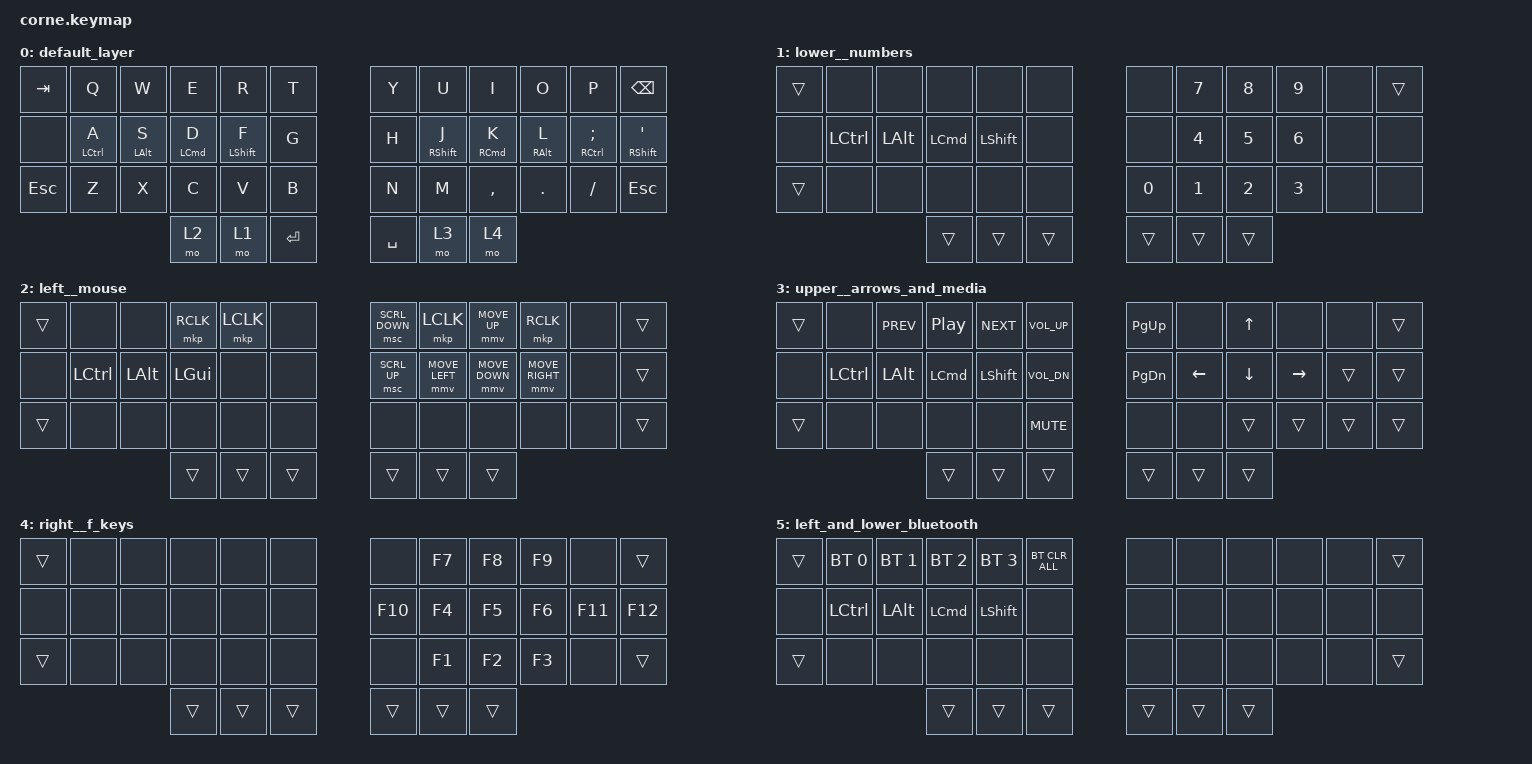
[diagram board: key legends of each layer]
/*
* Copyright (c) 2020 The ZMK Contributors
*
* SPDX-License-Identifier: MIT
*/
/*
╭────────────────────────┬────────────────────────╮
│  0   1   2   3   4   5 │  6   7   8   9  10  11 │
│ 12 [13][14][15][16] 17 │ 18 [19][20][21][22] 23 │
│ 24  25  26  27  28  29 │ 30  31  32  33  34  35 │
╰───────────╮ 36  37  38 │ 39  40  41 ╭───────────╯
............╰────────────┴────────────╯
*/

#define ZMK_POINTING_DEFAULT_MOVE_VAL 1100// mouse move
#define ZMK_POINTING_DEFAULT_SCRL_VAL 18// mouse scroll

#include <behaviors.dtsi>
#include <dt-bindings/zmk/bt.h>
#include <dt-bindings/zmk/keys.h>
#include <dt-bindings/zmk/pointing.h>

/* ------ MOUSE MOVE SETTINGS----- */

&mmv {
    time-to-max-speed-ms = <700>;
    acceleration-exponent = <1>;
};

/* ------MOUSE SCROLL SETTINGS----- */

&msc {
    time-to-max-speed-ms = <100>;
    acceleration-exponent = <0>;
};

/* ------------------------------- */

/ {
    behaviors {
        hml: hml {
            compatible = "zmk,behavior-hold-tap";
            #binding-cells = <2>;
            bindings = <&kp>, <&kp>;

            tapping-term-ms = <280>;
            flavor = "balanced";
            quick-tap-ms = <175>;
            require-prior-idle-ms = <150>;
            hold-trigger-key-positions = <6 7 8 9 10 11 18 19 20 21 22 23 30 31 32 33 34 35 39 40 41 38 37 36 0>;
            hold-trigger-on-release;
        };

        hmr: hmr {
            compatible = "zmk,behavior-hold-tap";
            #binding-cells = <2>;
            bindings = <&kp>, <&kp>;

            tapping-term-ms = <280>;
            flavor = "balanced";

            // when pressed _again_ within this time tap behavior will be triggered			

            quick-tap-ms = <175>;

            // require-prior-idle-ms is like quick-tap-ms however it will apply for any non-modifier key pressed before it. 
            // dus key a > shift b (shift b is dan waar dit gedefineerd is) binnen deze tijd is alijd ab.
            // This effectively disables the hold-tap when typing quickly.

            require-prior-idle-ms = <150>;

            // if you press any key NOT listed in hold-trigger-key-positions before tapping-term-ms expires, it will produce a tap.
            // dus een key die wel in deze lijst staat houd de hold trigger aan.

            hold-trigger-key-positions = <0 1 2 3 4 5 12 13 14 15 16 17 24 25 26 27 28 29 36 37 38 39 41 40 11>;
            hold-trigger-on-release;
        };

        moto: moto {
            compatible = "zmk,behavior-hold-tap";
            bindings = <&kp>, <&to>;

            #binding-cells = <2>;
            tapping-term-ms = <200>;
        };
    };

    combos {
        compatible = "zmk,combos";

        combo_caps_lock {
            timeout-ms = <50>;
            key-positions = <13 22>;
            bindings = <&kp CAPS>;
        };

        combo_copy {
            timeout-ms = <40>;
            key-positions = <15 27>;
            bindings = <&kp LG(C)>;
        };

        combo_cut {
            timeout-ms = <40>;
            key-positions = <14 26>;
            bindings = <&kp LG(X)>;
        };

        combo_paste {
            timeout-ms = <40>;
            key-positions = <16 28>;
            bindings = <&kp LG(V)>;
        };

        combo_undo {
            timeout-ms = <40>;
            key-positions = <13 25>;
            bindings = <&kp LG(Z)>;
        };

        combo_cmdtab {
            timeout-ms = <40>;
            key-positions = <0 1>;
            bindings = <&kp LG(TAB)>;
        };

        // Symbol combos

        combo_exclamation {
            timeout-ms = <40>;
            key-positions = <1 13>;
            bindings = <&kp EXCLAMATION>;
        };

        combo_at {
            timeout-ms = <40>;
            key-positions = <2 14>;
            bindings = <&kp AT>;
        };

        combo_hash {
            timeout-ms = <40>;
            key-positions = <3 15>;
            bindings = <&kp HASH>;
        };

        combo_dollar {
            timeout-ms = <40>;
            key-positions = <4 16>;
            bindings = <&kp DOLLAR>;
        };

        combo_percent {
            timeout-ms = <40>;
            key-positions = <5 17>;
            bindings = <&kp PERCENT>;
        };

        combo_caret {
            timeout-ms = <40>;
            key-positions = <6 18>;
            bindings = <&kp CARET>;
        };

        combo_ampersand {
            timeout-ms = <40>;
            key-positions = <7 19>;
            bindings = <&kp AMPS>;
        };

        combo_asterisk {
            timeout-ms = <40>;
            key-positions = <8 20>;
            bindings = <&kp ASTERISK>;
        };

        combo_underscore {
            timeout-ms = <40>;
            key-positions = <9 21>;
            bindings = <&kp UNDERSCORE>;
        };

        combo_pipe {
            timeout-ms = <40>;
            key-positions = <10 22>;
            bindings = <&kp PIPE>;
        };

        combo_backslash {
            timeout-ms = <40>;
            key-positions = <11 23>;
            bindings = <&kp BACKSLASH>;
        };

        combo_left_bracket {
            timeout-ms = <40>;
            key-positions = <1 2>;
            bindings = <&kp LEFT_BRACKET>;
        };

        combo_right_bracket {
            timeout-ms = <40>;
            key-positions = <3 4>;
            bindings = <&kp RIGHT_BRACKET>;
        };

        combo_minus {
            timeout-ms = <20>;
            key-positions = <7 8>;
            bindings = <&kp MINUS>;
        };

        combo_equal {
            timeout-ms = <20>;
            key-positions = <8 9>;
            bindings = <&kp EQUAL>;
        };

        combo_plus {
            timeout-ms = <20>;
            key-positions = <9 10>;
            bindings = <&kp PLUS>;
        };

        combo_left_paren {
            timeout-ms = <40>;
            key-positions = <25 26>;
            bindings = <&kp LEFT_PARENTHESIS>;
        };

        combo_right_paren {
            timeout-ms = <40>;
            key-positions = <27 28>;
            bindings = <&kp RIGHT_PARENTHESIS>;
        };

        combo_layer_3 {
            timeout-ms = <40>;
            key-positions = <36 37>;
            bindings = <&mo 5>;
        };
    };

    keymap {
        compatible = "zmk,keymap";

        default_layer {
            // -----------------------------------------------------------------------------------------
            // |  TAB |  Q  |  W  |  E  |  R  |  T  |   |  Y  |  U   |  I  |  O  |  P  | BKSP |
            // | CTRL |  A  |  S  |  D  |  F  |  G  |   |  H  |  J   |  K  |  L  |  ;  |  '   |
            // | SHFT |  Z  |  X  |  C  |  V  |  B  |   |  N  |  M   |  ,  |  .  |  /  | ESC  |
            //                    | GUI | LWR | SPC |   | ENT | RSE  | ALT |

            bindings = <
&kp TAB     &kp Q         &kp W            &kp E                &kp R              &kp T         &kp Y      &kp U               &kp I                 &kp O             &kp P                 &kp BSPC
&none       &hml LCTRL A  &hml LEFT_ALT S  &hml LEFT_COMMAND D  &hml LEFT_SHIFT F  &kp G         &kp H      &hmr RIGHT_SHIFT J  &hmr RIGHT_COMMAND K  &hmr RIGHT_ALT L  &hmr RCTRL SEMICOLON  &hmr RIGHT_SHIFT APOS
&kp ESCAPE  &kp Z         &kp X            &kp C                &kp V              &kp B         &kp N      &kp M               &kp COMMA             &kp DOT           &kp FSLH              &kp ESC
                                           &mo 2                &mo 1              &kp RETURN    &kp SPACE  &mo 3               &mo 4
            >;
        };

        lower__numbers {
            bindings = <
&trans  &none      &none         &none             &none           &none     &none         &kp N7  &kp N8  &kp N9  &none  &trans
&none   &kp LCTRL  &kp LEFT_ALT  &kp LEFT_COMMAND  &kp LEFT_SHIFT  &none     &none         &kp N4  &kp N5  &kp N6  &none  &none
&trans  &none      &none         &none             &none           &none     &kp NUMBER_0  &kp N1  &kp N2  &kp N3  &none  &none
                                 &trans            &trans          &trans    &trans        &trans  &trans
            >;
        };

        left__mouse {
            bindings = <
&trans  &none      &none         &mkp RCLK     &mkp LCLK  &none     &msc SCRL_DOWN  &mkp LCLK       &mmv MOVE_UP    &mkp RCLK        &none  &trans
&none   &kp LCTRL  &kp LEFT_ALT  &kp LEFT_GUI  &none      &none     &msc SCRL_UP    &mmv MOVE_LEFT  &mmv MOVE_DOWN  &mmv MOVE_RIGHT  &none  &trans
&trans  &none      &none         &none         &none      &none     &none           &none           &none           &none            &none  &trans
                                 &trans        &trans     &trans    &trans          &trans          &trans
            >;
        };

        upper__arrows_and_media {
            bindings = <
&trans  &none      &kp C_PREV    &kp C_PP          &kp C_NEXT      &kp C_VOLUME_UP    &kp PAGE_UP    &none     &kp UP_ARROW  &none      &none   &trans
&none   &kp LCTRL  &kp LEFT_ALT  &kp LEFT_COMMAND  &kp LEFT_SHIFT  &kp C_VOL_DN       &kp PAGE_DOWN  &kp LEFT  &kp DOWN      &kp RIGHT  &trans  &trans
&trans  &none      &none         &none             &none           &kp K_MUTE         &none          &none     &trans        &trans     &trans  &trans
                                 &trans            &trans          &trans             &trans         &trans    &trans
            >;
        };

        right__f_keys {
            bindings = <
&trans  &none  &none  &none   &none   &none     &none    &kp F7  &kp F8  &kp F9  &none    &trans
&none   &none  &none  &none   &none   &none     &kp F10  &kp F4  &kp F5  &kp F6  &kp F11  &kp F12
&trans  &none  &none  &none   &none   &none     &none    &kp F1  &kp F2  &kp F3  &none    &trans
                      &trans  &trans  &trans    &trans   &trans  &trans
            >;
        };

        left_and_lower_bluetooth {
            bindings = <
&trans  &bt BT_SEL 0  &bt BT_SEL 1  &bt BT_SEL 2      &bt BT_SEL 3    &bt BT_CLR_ALL    &none   &none   &none   &none  &none  &trans
&none   &kp LCTRL     &kp LEFT_ALT  &kp LEFT_COMMAND  &kp LEFT_SHIFT  &none             &none   &none   &none   &none  &none  &none
&trans  &none         &none         &none             &none           &none             &none   &none   &none   &none  &none  &trans
                                    &trans            &trans          &trans            &trans  &trans  &trans
            >;
        };
    };
};
